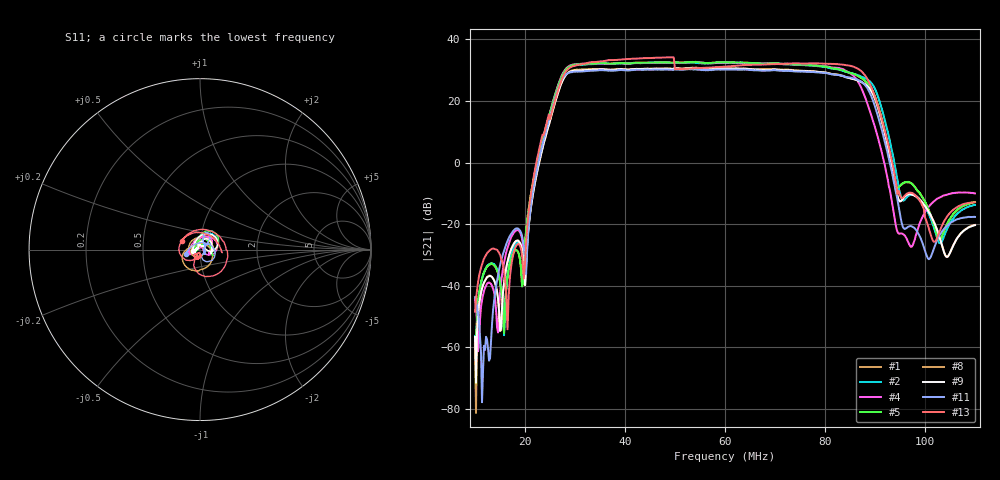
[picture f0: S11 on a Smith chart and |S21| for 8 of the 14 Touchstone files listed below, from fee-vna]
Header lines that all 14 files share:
! Anritsu VNA Master:  Model: MS2034B/10/19/501
! SN:  1337062
! Existing Calibration Information:
! TYPE:  Current Settings,  Active Cal Settings
! START FREQ:  10.000 MHz,  10.000 MHz
! STOP FREQ:  110.000 MHz,  110.000 MHz
! SOURCE POWER:  Low,  Low
! REF PLANE 2:  0 mm,  0 mm
! CAL METHOD:  SOLT,  SOLT
! CAL LINE TYPE:  Coax,  Coax
! DUT PORT 1:  K-Conn(M),  K-Conn(M)
! DUT PORT 2:  N-Conn(M),  N-Conn(M)
! CAL STATUS:  OK: Accuracy High,  --
# GHZ S DB R 50.0
! FREQ.GHZ  S11DB  S11A  S21DB  S21A  S12DB  S12A  S22DB  S22A
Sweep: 10 MHz to 110 MHz
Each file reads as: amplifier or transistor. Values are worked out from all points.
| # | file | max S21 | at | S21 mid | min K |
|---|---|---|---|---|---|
| 1 | dcp2-c1-s11.s2p | 32.6 dB | 53.49 MHz | 32.5 dB at 60.1 MHz | -0.05 |
| 2 | dcp-a2-s21.s2p | 32.5 dB | 53.09 MHz | 32.4 dB at 60.1 MHz | -0.05 |
| 3 | dcp-b1-s11.s2p | 32.7 dB | 54.09 MHz | 32.4 dB at 60.1 MHz | -0.05 |
| 4 | dcp-b2-s11.s2p | 32.7 dB | 54.09 MHz | 32.4 dB at 60.1 MHz | -0.06 |
| 5 | dcp-c1-s11-2.s2p | 32.7 dB | 54.09 MHz | 32.6 dB at 60.1 MHz | -0.06 |
| 6 | dcp-c1-s21.s2p | 32.6 dB | 53.09 MHz | 32.4 dB at 60.1 MHz | -0.06 |
| 7 | dcp-c2-s11.s2p | 32.5 dB | 53.09 MHz | 32.4 dB at 60.1 MHz | -0.05 |
| 8 | dcp-d2-s11-v2.s2p | 30.9 dB | 54.09 MHz | 30.5 dB at 60.1 MHz | -0.05 |
| 9 | dcp-d2-s11.s2p | 30.7 dB | 53.29 MHz | 30.5 dB at 60.1 MHz | -0.05 |
| 10 | dcp-z1-s11.s2p | 30.6 dB | 52.89 MHz | 30.4 dB at 60.1 MHz | -0.05 |
| 11 | dcp-z2-s21.s2p | 30.3 dB | 52.89 MHz | 30.2 dB at 60.1 MHz | -0.08 |
| 12 | ljg-vna-s11-z1.s2p | 30.7 dB | 53.89 MHz | 30.6 dB at 60.1 MHz | -0.05 |
| 13 | y1-s11.s2p | 34.2 dB | 48.75 MHz | 31.1 dB at 60 MHz | -0.11 |
| 14 | y2-s11.s2p | 34.2 dB | 48.75 MHz | 31.1 dB at 60 MHz | -0.11 |
